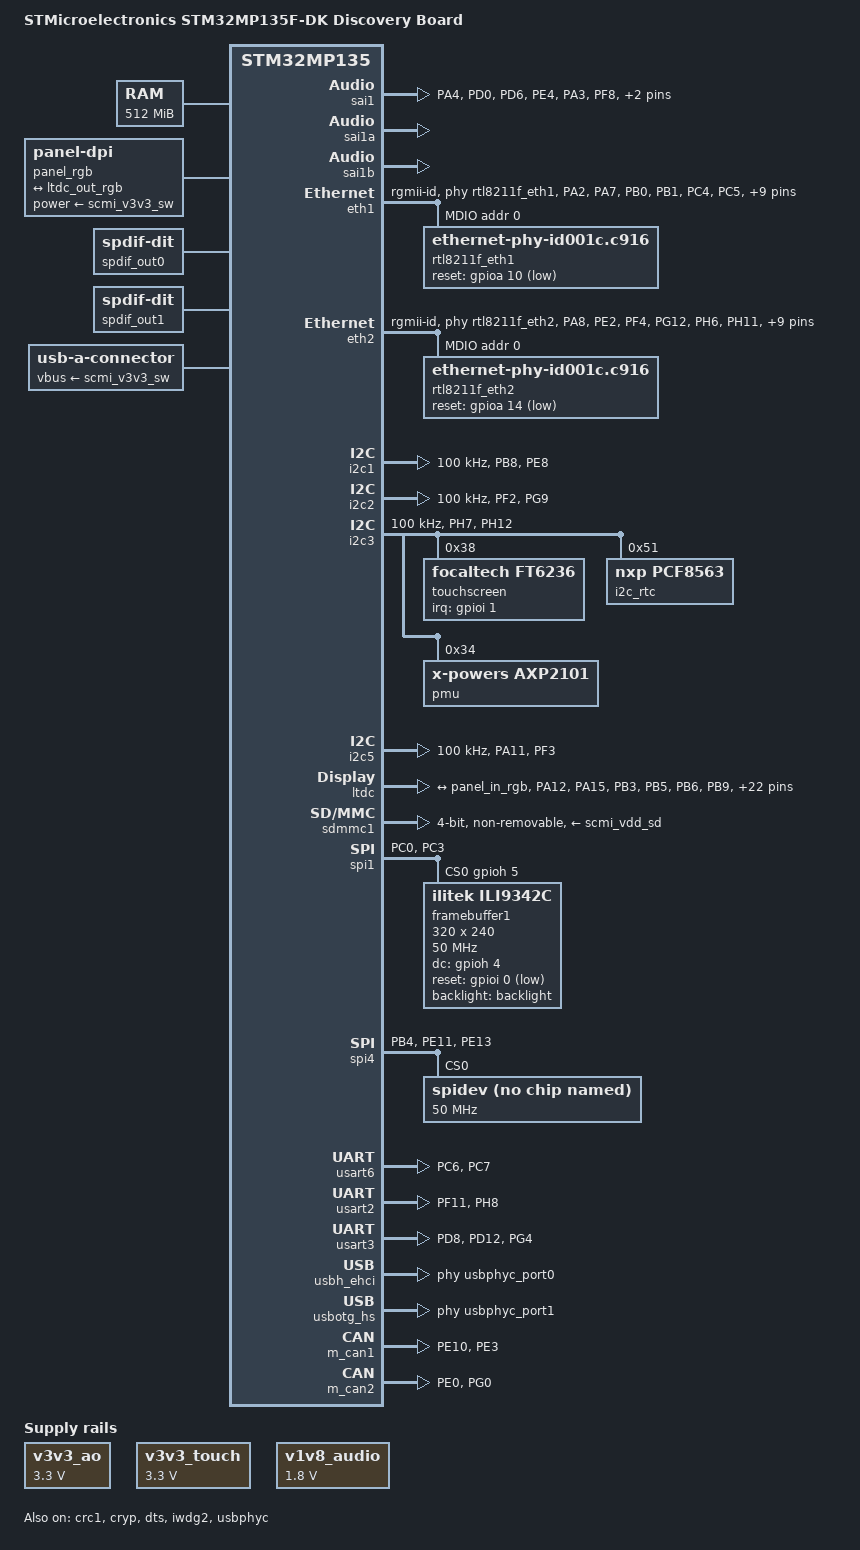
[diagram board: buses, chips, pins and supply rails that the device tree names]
// SPDX-License-Identifier: (GPL-2.0+ OR BSD-3-Clause)
/*
 * Copyright (C) STMicroelectronics 2021 - All Rights Reserved
 * Author: Alexandre Torgue <alexandre.torgue@foss.st.com> for STMicroelectronics.
 */

/dts-v1/;

#include <dt-bindings/gpio/gpio.h>
#include <dt-bindings/input/input.h>
#include <dt-bindings/leds/common.h>
#include <dt-bindings/rtc/rtc-stm32.h>
#include "stm32mp135.dtsi"
#include "stm32mp13xf.dtsi"
#include "stm32mp13-pinctrl.dtsi"

/ {
	model = "STMicroelectronics STM32MP135F-DK Discovery Board";
	compatible = "st,stm32mp135f-dk", "st,stm32mp135";

	aliases {
		ethernet0 = &eth1;
		ethernet1 = &eth2;
		serial0 = &usart6;
		serial1 = &usart1;
		serial2 = &usart2;
		// rs485
		serial3 = &usart3;


		i2c0 = &i2c3;
		i2c1 = &i2c5;
		
		i2c2 = &i2c1;
		i2c3 = &i2c2;
	};

	chosen {
		#address-cells = <1>;
		#size-cells = <1>;
		ranges;
//		stdout-path = "serial0:115200n8";

		framebuffer {
			compatible = "simple-framebuffer";
			clocks = <&rcc LTDC_PX>;
			status = "disabled";
		};
	};

	clocks {
	};

	memory@c0000000 {
		device_type = "memory";
		reg = <0xc0000000 0x20000000>;
	};

	reserved-memory {
		#address-cells = <1>;
		#size-cells = <1>;
		ranges;

		optee_framebuffer@dd000000 {
			reg = <0xdd000000 0x1000000>;
			no-map;
		};

		optee@de000000 {
			reg = <0xde000000 0x2000000>;
			no-map;
		};
	};

	v3v3_ao: v3v3_ao {
		compatible = "regulator-fixed";
		regulator-name = "v3v3_ao";
		regulator-min-microvolt = <3300000>;
		regulator-max-microvolt = <3300000>;
		regulator-always-on;
	};

	v3v3_touch: v3v3_touch {
		compatible = "regulator-fixed";
		regulator-name = "v3v3";
		regulator-min-microvolt = <3300000>;
		regulator-max-microvolt = <3300000>;
		regulator-always-on;
	};

	v1v8_audio: regulator-v1v8_audio {
		compatible = "regulator-fixed";
		regulator-name = "v1v8_audio";
		regulator-min-microvolt = <1800000>;
		regulator-max-microvolt = <1800000>;
		regulator-always-on;
		regulator-boot-on;
	};


	panel_rgb: panel-rgb {
		compatible = "panel-dpi";
		power-supply = <&scmi_v3v3_sw>;
		data-mapping = "rgb24";
		status = "okay";
		// 1920×1080
		width-mm = <320>;
		height-mm = <180>;
		port {
			panel_in_rgb: endpoint {
				remote-endpoint = <&ltdc_out_rgb>;
			};
		};
		// https://tomverbeure.github.io/video_timings_calculator
		panel-timing {
			clock-frequency = <74250000>;
			hactive = <1280>;
			vactive = <720>;
			hsync-len = <40>;
			hfront-porch = <110>;
			hback-porch = <220>;
			vsync-len = <5>;
			vfront-porch = <5>;
			vback-porch = <20>;

			hsync-active = <1>;
			vsync-active = <1>;

			de-active = <1>;
			pixelclk-active = <1>;
		};
	};

	sound0 {
        compatible = "simple-audio-card";
        simple-audio-card,format = "i2s";
        simple-audio-card,mclk-fs = <256>;
        simple-audio-card,name = "ns4168-codec";
        status = "okay";

        simple-audio-card,cpu {
                sound-dai = <&sai1a>;
        };
        simple-audio-card,codec {
                sound-dai = <&spdif_out0>;
        };
	};

	sound1 {
        compatible = "simple-audio-card";
        simple-audio-card,format = "i2s";
        simple-audio-card,mclk-fs = <256>;
        simple-audio-card,name = "hdmi-codec";
        status = "okay";

        simple-audio-card,cpu {
                sound-dai = <&sai1b>;
        };
        simple-audio-card,codec {
                sound-dai = <&spdif_out1>;
        };
	};

	spdif_out0: spdif-out0 {
		#sound-dai-cells = <0>;
		compatible = "linux,spdif-dit";
		status = "okay";
	};

	spdif_out1: spdif-out1 {
		#sound-dai-cells = <0>;
		compatible = "linux,spdif-dit";
		status = "okay";
	};
};



&sai1 {
	clocks = <&rcc SAI1>, <&scmi_clk CK_SCMI_PLL3_Q>, <&scmi_clk CK_SCMI_PLL3_R>;
	clock-names = "pclk", "x8k", "x11k";

    pinctrl-names = "default", "sleep";
	pinctrl-0 = <&sai1a_pins_mx>, <&sai1b_pins_mx>;
	pinctrl-1 = <&sai1a_sleep_pins_mx>, <&sai1b_sleep_pins_mx>;
    status = "okay";
};

&sai1a{
	#clock-cells = <0>;
	dma-names = "tx";
	status = "okay";
};

&sai1b{
	#clock-cells = <0>;
	dma-names = "tx";
	status = "okay";
};

&crc1 {
	status = "okay";
};

&cryp {
	status = "okay";
};

&dma1 {
	sram = <&dma_pool>;
};

&dma2 {
	sram = <&dma_pool>;
};

&dts {
	status = "okay";
};

&eth1 {
	status = "okay";
	pinctrl-0 = <&eth1_pins_mx>;
	pinctrl-1 = <&eth1_sleep_pins_mx>;
	pinctrl-names = "default", "sleep";
	phy-mode = "rgmii-id";
	max-speed = <1000>;
	nvmem-cells = <&ethernet_mac1_address>;
	nvmem-cell-names = "mac-address";
	phy-handle = <&rtl8211f_eth1>;

	mdio1 {
		#address-cells = <1>;
		#size-cells = <0>;
		compatible = "snps,dwmac-mdio";
		rtl8211f_eth1: ethernet-phy@0 {
			compatible = "ethernet-phy-id001c.c916";
			reg = <0>;
			reset-assert-us = <10000>;
			reset-deassert-us = <30000>;
			reset-gpios = <&gpioa 10 GPIO_ACTIVE_LOW>;
		};
	};
};

&eth2 {
	status = "okay";
	pinctrl-0 = <&eth2_pins_mx>;
	pinctrl-1 = <&eth2_sleep_pins_mx>;
	pinctrl-names = "default", "sleep";
	phy-mode = "rgmii-id";
	max-speed = <1000>;
	phy-handle = <&rtl8211f_eth2>;
	nvmem-cells = <&ethernet_mac2_address>;
	nvmem-cell-names = "mac-address";

	mdio1 {
		#address-cells = <1>;
		#size-cells = <0>;
		compatible = "snps,dwmac-mdio";

		rtl8211f_eth2: ethernet-phy@0 {
			compatible = "ethernet-phy-id001c.c916";
			reg = <0>;
			reset-assert-us = <10000>;
			reset-deassert-us = <30000>;
			reset-gpios = <&gpioa 14 GPIO_ACTIVE_LOW>;
		};
	};

};


&mdma{
	status = "okay";
};

// bus i2c1
&i2c1 {
	pinctrl-names = "default", "sleep";
	pinctrl-0 = <&i2c1_pins_mx>;
	pinctrl-1 = <&i2c1_sleep_pins_mx>;
	// i2c-scl-rising-time-ns = <96>;
	// i2c-scl-falling-time-ns = <3>;
	clock-frequency = <100000>;
	status = "okay";
	// status = "disabled";
	/* spare dmas for other usage */
	/delete-property/dmas;
	/delete-property/dma-names;

};

// bus i2c2
&i2c2 {
	pinctrl-names = "default", "sleep";
	pinctrl-0 = <&i2c2_pins_mx>;
	pinctrl-1 = <&i2c2_sleep_pins_mx>;
	clock-frequency = <100000>;
	status = "okay";
	// status = "disabled";
	/* spare dmas for other usage */
	/delete-property/dmas;
	/delete-property/dma-names;

};

// interior i2c
&i2c3 {
	pinctrl-names = "default", "sleep";
	pinctrl-0 = <&i2c3_pins_mx>;
	pinctrl-1 = <&i2c3_sleep_pins_mx>;
	clock-frequency = <100000>;
	status = "okay";
	// /* spare dmas for other usage */
	/delete-property/dmas;
	/delete-property/dma-names;
	touchscreen: ft6236@38 {
			compatible = "focaltech,ft6236";
			reg = <0x38>;
			interrupt-parent = <&gpioi>;
			interrupts = <1 IRQ_TYPE_EDGE_FALLING>;
			touchscreen-size-x = <240>;
			touchscreen-size-y = <320>;
			status = "okay";
	}; 

	i2c_rtc: pcf8563@51 {
		compatible = "nxp,pcf8563";
		reg = <0x51>;
		status = "okay";
	};

	pmu: axp2101@34 {
		compatible = "x-powers,axp2101";
		reg = <0x34>;
		#address-cells = <1>;
		#size-cells = <0>;
		status = "okay";

		backlight: axp2101_bl {
			compatible = "m5stack,axp2101-backlight";
			status = "okay";
		};
		// poweroff: axp2101_poweroff {
		// 	compatible = "x-powers,axp2101-poweroff";
		// 	status = "okay";
		// };
	};

};

//enclosure i2c
&i2c5 {
	pinctrl-names = "default", "sleep";
	pinctrl-0 = <&i2c5_pins_mx>;
	pinctrl-1 = <&i2c5_sleep_pins_mx>;
	clock-frequency = <100000>;
	status = "okay";
	// status = "disabled";
	/* spare dmas for other usage */
	/delete-property/dmas;
	/delete-property/dma-names;
};

&iwdg2 {
	timeout-sec = <32>;
	status = "okay";
};

&ltdc {
	pinctrl-names = "default", "sleep";
	pinctrl-0 = <&ltdc_pins_mx>;
	pinctrl-1 = <&ltdc_sleep_pins_mx>;
	status = "okay";
	port {
		#address-cells = <1>;
		#size-cells = <0>;

		ltdc_out_rgb: endpoint@0 {
			reg = <0>;
			remote-endpoint = <&panel_in_rgb>;
		};
	};
};

&rtc {
	status = "disabled";
};

&scmi_regu {
	scmi_vddcpu: voltd-vddcpu {
		voltd-name = "vddcpu";
		regulator-name = "vddcpu";
	};
	scmi_vdd: voltd-vdd {
		voltd-name = "vdd";
		regulator-name = "vdd";
	};
	scmi_vddcore: voltd-vddcore {
		voltd-name = "vddcore";
		regulator-name = "vddcore";
	};
	scmi_vdd_adc: voltd-vdd_adc {
		voltd-name = "vdd_adc";
		regulator-name = "vdd_adc";
	};
	scmi_vdd_usb: voltd-vdd_usb {
		voltd-name = "vdd_usb";
		regulator-name = "vdd_usb";
	};
	scmi_vdd_sd: voltd-vdd_sd {
		voltd-name = "vdd_sd";
		regulator-name = "vdd_sd";
	};
	scmi_v1v8_periph: voltd-v1v8_periph {
		voltd-name = "v1v8_periph";
		regulator-name = "v1v8_periph";
	};
	scmi_v3v3_sw: voltd-v3v3_sw {
		voltd-name = "v3v3_sw";
		regulator-name = "v3v3_sw";
	};
};

&sdmmc1 {
	pinctrl-names = "default", "opendrain", "sleep";
	pinctrl-0 = <&sdmmc1_b4_pins_a &sdmmc1_clk_pins_a>;
	pinctrl-1 = <&sdmmc1_b4_od_pins_a &sdmmc1_clk_pins_a>;
	pinctrl-2 = <&sdmmc1_b4_sleep_pins_a>;
	non-removable;
	disable-wp;
	st,neg-edge;
	bus-width = <4>;
	vmmc-supply = <&scmi_vdd_sd>;
	status = "okay";
};

&spi1 {
	pinctrl-names = "default", "sleep";
	pinctrl-0 = <&spi1_pins_mx>;
	pinctrl-1 = <&spi1_sleep_pins_mx>;
	num-cs = <1>;
	cs-gpios = <&gpioh 5 GPIO_ACTIVE_HIGH>;
	status = "okay";

	framebuffer1: ili9342c@0 {
		compatible = "ilitek,ili9342c";
		reg = <0>;
		dc-gpios = <&gpioh 4 GPIO_ACTIVE_HIGH>;
		reset-gpios = <&gpioi 0 GPIO_ACTIVE_LOW>;
		spi-max-frequency = <50000000>;
		status = "okay";
		rotate = <180>;
		bgr;
		buswidth = <8>;
		width = <320>;
		height = <240>;
		backlight = <&backlight>;
	};
};

// bus spi
&spi4 {
	pinctrl-names = "default", "sleep";
	pinctrl-0 = <&spi4_pins_mx>;
	pinctrl-1 = <&spi4_sleep_pins_mx>;
	// cs-gpios = <&gpiob 13 GPIO_ACTIVE_LOW>, <&gpioc 13 GPIO_ACTIVE_LOW>;

	/delete-property/dmas;
	/delete-property/dma-names;
	status = "okay";

	spidev@0 {
		compatible = "rohm,dh2228fv";
		reg = <0>;
		spi-max-frequency = <50000000>;
	};
};

&sram {
	dma_pool: dma-sram@0 {
		reg = <0x0 0x4000>;
		pool;
	};
};


&adc_1 {
	pinctrl-names = "default";
	pinctrl-0 = <&adc1_pins_mx>;
	vdda-supply = <&scmi_vdd_adc>;
	vref-supply = <&scmi_vdd_adc>;
	status = "disabled";
	adc1: adc@0 {
		/delete-property/dmas;
		/delete-property/dma-names;
		st,min-sample-time-nsecs = <5000>;
		st,adc-channels = <2 3 7 17>;
		status = "disabled";
	};

};

// bus pwm
&timers1 {
	/delete-property/dmas;
	/delete-property/dma-names;
	status = "disabled";
	pwm {
		pinctrl-0 = <&tim1_pwm_pins_mx>;
		pinctrl-1 = <&tim1_pwm_sleep_pins_mx>;
		pinctrl-names = "default", "sleep";
		status = "disabled";
	};
	timer@0 {
		status = "disabled";
	};
};

// bus pwm
&timers2 {
	/delete-property/dmas;
	/delete-property/dma-names;
	status = "disabled";
	pwm {
		pinctrl-0 = <&tim2_pwm_pins_mx>;
		pinctrl-1 = <&tim2_pwm_sleep_pins_mx>;
		pinctrl-names = "default", "sleep";
		status = "disabled";
	};
	timer@1 {
		status = "disabled";
	};
};


&uart4 {
	pinctrl-names = "default", "sleep", "idle";
	pinctrl-0 = <&uart4_pins_a>;
	pinctrl-1 = <&uart4_sleep_pins_a>;
	pinctrl-2 = <&uart4_idle_pins_a>;
	/delete-property/dmas;
	/delete-property/dma-names;
	status = "disabled";
};

// log uart
&usart6 {
	pinctrl-names = "default", "sleep";
	pinctrl-0 = <&usart6_pins_mx>;
	pinctrl-1 = <&usart6_sleep_pins_mx>;
	/delete-property/dmas;
	/delete-property/dma-names;
	rx-tx-swap;
	status = "okay";
};


&uart8 {
	pinctrl-names = "default", "sleep", "idle";
	pinctrl-0 = <&uart8_pins_a>;
	pinctrl-1 = <&uart8_sleep_pins_a>;
	pinctrl-2 = <&uart8_idle_pins_a>;
	/delete-property/dmas;
	/delete-property/dma-names;
	status = "disabled";
};

&usart1 {
	pinctrl-names = "default", "sleep";
	pinctrl-0 = <&usart1_pins_mx>;
	pinctrl-1 = <&usart1_sleep_pins_mx>;
	/delete-property/dmas;
	/delete-property/dma-names;
	status = "disabled";
};

// bus uart2
&usart2 {
	pinctrl-names = "default", "sleep";
	pinctrl-0 = <&usart2_pins_mx>;
	pinctrl-1 = <&usart2_sleep_pins_mx>;
	/delete-property/dmas;
	/delete-property/dma-names;
	status = "okay";
};

// rs485
&usart3 {
	/delete-property/dmas;
	/delete-property/dma-names;
	pinctrl-names = "default", "sleep";
	pinctrl-0 = <&usart3_pins_mx>;
	pinctrl-1 = <&usart3_sleep_pins_mx>;
	rts-gpios;
	linux,rs485-enabled-at-boot-time;
	status = "okay";
};

&usbh_ehci {
	phys = <&usbphyc_port0>;
	status = "okay";
};

&usbotg_hs {
	phys = <&usbphyc_port1 0>;
	phy-names = "usb2-phy";
	usb-role-switch;
	status = "okay";
};

&usbphyc {
	status = "okay";
};

&usbphyc_port0 {
	phy-supply = <&scmi_vdd_usb>;
	st,current-boost-microamp = <1000>;
	st,decrease-hs-slew-rate;
	st,tune-hs-dc-level = <2>;
	st,enable-hs-rftime-reduction;
	st,trim-hs-current = <11>;
	st,trim-hs-impedance = <2>;
	st,tune-squelch-level = <1>;
	st,enable-hs-rx-gain-eq;
	st,no-hs-ftime-ctrl;
	st,no-lsfs-sc;

	/*
	 * Hack to keep hub active if wakeup source is enabled
	 * otherwise the hub will wakeup the port0 as soon as the v3v3_sw is disabled
	 */
	connector {
		compatible = "usb-a-connector";
		vbus-supply = <&scmi_v3v3_sw>;
	};
};

&usbphyc_port1 {
	#phy-cells = <0>;
	reg = <0>;
	phy-supply = <&scmi_vdd_usb>;
	st,current-boost-microamp = <1000>;
	st,decrease-hs-slew-rate;
	st,tune-hs-dc-level = <2>;
	st,enable-hs-rftime-reduction;
	st,trim-hs-current = <11>;
	st,trim-hs-impedance = <2>;
	st,tune-squelch-level = <1>;
	st,enable-hs-rx-gain-eq;
	st,no-hs-ftime-ctrl;
	st,no-lsfs-sc;
};

&m_can1 {
	pinctrl-names = "default", "sleep";
	pinctrl-0 = <&fdcan1_pins_mx>;
	pinctrl-1 = <&fdcan1_sleep_pins_mx>;
	status = "okay";
};

&m_can2 {
	pinctrl-names = "default", "sleep";
	pinctrl-0 = <&fdcan2_pins_mx>;
	pinctrl-1 = <&fdcan2_sleep_pins_mx>;
	status = "okay";
};


&pinctrl {

	adc1_pins_mx: adc1_mx-0 {
		pins {
			pinmux = <STM32_PINMUX('A', 0, ANALOG)>, /* ADC1_INP7 */
					 <STM32_PINMUX('A', 1, ANALOG)>, /* ADC1_INP3 */
					 <STM32_PINMUX('A', 5, ANALOG)>, /* ADC1_INP2 */
					 <STM32_PINMUX('A', 6, ANALOG)>; /* ADC1_INP17 */
					//  <STM32_PINMUX('F', 12, ANALOG)>; /* ADC1_INN2 */
		};
	};

	adc1_sleep_pins_mx: adc1_sleep_mx-0 {
		pins {
			pinmux = <STM32_PINMUX('A', 0, ANALOG)>, /* ADC1_INP7 */
					 <STM32_PINMUX('A', 1, ANALOG)>, /* ADC1_INP3 */
					 <STM32_PINMUX('A', 5, ANALOG)>, /* ADC1_INP2 */
					 <STM32_PINMUX('A', 6, ANALOG)>; /* ADC1_INP17 */
					//  <STM32_PINMUX('F', 12, ANALOG)>; /* ADC1_INN2 */
		};
	};

	eth1_pins_mx: eth1_mx-0 {
		pins1 {
			pinmux = <STM32_PINMUX('A', 2, AF11)>; /* ETH1_MDIO */
			bias-disable;
			drive-push-pull;
			slew-rate = <0>;
		};
		pins2 {
			pinmux = <STM32_PINMUX('A', 7, AF11)>, /* ETH1_RX_CTL */
					 <STM32_PINMUX('B', 0, AF11)>, /* ETH1_RXD2 */
					 <STM32_PINMUX('B', 1, AF11)>, /* ETH1_RXD3 */
					 <STM32_PINMUX('C', 4, AF11)>, /* ETH1_RXD0 */
					 <STM32_PINMUX('C', 5, AF11)>, /* ETH1_RXD1 */
					 <STM32_PINMUX('D', 7, AF10)>; /* ETH1_RX_CLK */
			bias-disable;
		};
		pins3 {
			pinmux = <STM32_PINMUX('B', 11, AF11)>, /* ETH1_TX_CTL */
					 <STM32_PINMUX('C', 1, AF11)>, /* ETH1_GTX_CLK */
					 <STM32_PINMUX('C', 2, AF11)>, /* ETH1_TXD2 */
					 <STM32_PINMUX('E', 5, AF10)>, /* ETH1_TXD3 */
					 <STM32_PINMUX('G', 2, AF11)>, /* ETH1_MDC */
					 <STM32_PINMUX('F', 12, AF11)>, /* ETH1_CLK125 */
					 <STM32_PINMUX('G', 13, AF11)>, /* ETH1_TXD0 */
					 <STM32_PINMUX('G', 14, AF11)>; /* ETH1_TXD1 */
			bias-disable;
			drive-push-pull;
			slew-rate = <2>;
		};
	};

	eth1_sleep_pins_mx: eth1_sleep_mx-0 {
		pins {
			pinmux = <STM32_PINMUX('A', 2, ANALOG)>, /* ETH1_MDIO */
					 <STM32_PINMUX('A', 7, ANALOG)>, /* ETH1_RX_CTL */
					 <STM32_PINMUX('B', 0, ANALOG)>, /* ETH1_RXD2 */
					 <STM32_PINMUX('B', 1, ANALOG)>, /* ETH1_RXD3 */
					 <STM32_PINMUX('B', 11, ANALOG)>, /* ETH1_TX_CTL */
					 <STM32_PINMUX('C', 1, ANALOG)>, /* ETH1_GTX_CLK */
					 <STM32_PINMUX('C', 2, ANALOG)>, /* ETH1_TXD2 */
					 <STM32_PINMUX('C', 4, ANALOG)>, /* ETH1_RXD0 */
					 <STM32_PINMUX('C', 5, ANALOG)>, /* ETH1_RXD1 */
					 <STM32_PINMUX('D', 7, ANALOG)>, /* ETH1_RX_CLK */
					 <STM32_PINMUX('E', 5, ANALOG)>, /* ETH1_TXD3 */
					 <STM32_PINMUX('G', 2, ANALOG)>, /* ETH1_MDC */
					 <STM32_PINMUX('F', 12, ANALOG)>, /* ETH1_CLK125 */
					 <STM32_PINMUX('G', 13, ANALOG)>, /* ETH1_TXD0 */
					 <STM32_PINMUX('G', 14, ANALOG)>; /* ETH1_TXD1 */
		};
	};

	eth2_pins_mx: eth2_mx-0 {
		pins1 {
			pinmux = <STM32_PINMUX('A', 8, AF11)>, /* ETH2_RXD3 */
					 <STM32_PINMUX('E', 2, AF10)>, /* ETH2_RXD1 */
					 <STM32_PINMUX('F', 4, AF11)>, /* ETH2_RXD0 */
					 <STM32_PINMUX('G', 12, AF12)>, /* ETH2_RX_CTL */
					 <STM32_PINMUX('H', 6, AF12)>, /* ETH2_RXD2 */
					 <STM32_PINMUX('H', 11, AF11)>; /* ETH2_RX_CLK */
			bias-disable;
		};
		pins2 {
			pinmux = <STM32_PINMUX('B', 2, AF11)>; /* ETH2_MDIO */
			bias-disable;
			drive-push-pull;
			slew-rate = <0>;
		};
		pins3 {
			pinmux = <STM32_PINMUX('E', 6, AF11)>, /* ETH2_TXD3 */
					 <STM32_PINMUX('F', 6, AF11)>, /* ETH2_TX_CTL */
					 <STM32_PINMUX('F', 7, AF11)>, /* ETH2_TXD0 */
					 <STM32_PINMUX('G', 1, AF10)>, /* ETH2_TXD2 */
					 <STM32_PINMUX('G', 3, AF10)>, /* ETH2_GTX_CLK */
					 <STM32_PINMUX('G', 5, AF10)>, /* ETH2_MDC */
					 <STM32_PINMUX('G', 11, AF10)>, /* ETH2_TXD1 */
					 <STM32_PINMUX('H', 2, AF13)>; /* ETH2_CLK125 */
			bias-disable;
			drive-push-pull;
			slew-rate = <2>;
		};
	};

	eth2_sleep_pins_mx: eth2_sleep_mx-0 {
		pins {
			pinmux = <STM32_PINMUX('A', 8, ANALOG)>, /* ETH2_RXD3 */
					 <STM32_PINMUX('B', 2, ANALOG)>, /* ETH2_MDIO */
					 <STM32_PINMUX('E', 2, ANALOG)>, /* ETH2_RXD1 */
					 <STM32_PINMUX('E', 6, ANALOG)>, /* ETH2_TXD3 */
					 <STM32_PINMUX('F', 4, ANALOG)>, /* ETH2_RXD0 */
					 <STM32_PINMUX('F', 6, ANALOG)>, /* ETH2_TX_CTL */
					 <STM32_PINMUX('F', 7, ANALOG)>, /* ETH2_TXD0 */
					 <STM32_PINMUX('G', 1, ANALOG)>, /* ETH2_TXD2 */
					 <STM32_PINMUX('G', 3, ANALOG)>, /* ETH2_GTX_CLK */
					 <STM32_PINMUX('G', 5, ANALOG)>, /* ETH2_MDC */
					 <STM32_PINMUX('H', 2, ANALOG)>, /* ETH2_CLK125 */
					 <STM32_PINMUX('G', 11, ANALOG)>, /* ETH2_TXD1 */
					 <STM32_PINMUX('G', 12, ANALOG)>, /* ETH2_RX_CTL */
					 <STM32_PINMUX('H', 6, ANALOG)>, /* ETH2_RXD2 */
					 <STM32_PINMUX('H', 11, ANALOG)>; /* ETH2_RX_CLK */
		};
	};

	fdcan1_pins_mx: fdcan1_mx-0 {
		pins1 {
			pinmux = <STM32_PINMUX('E', 10, AF9)>; /* FDCAN1_TX */
			bias-disable;
			drive-push-pull;
			slew-rate = <0>;
		};
		pins2 {
			pinmux = <STM32_PINMUX('E', 3, AF9)>; /* FDCAN1_RX */
			bias-disable;
		};
	};

	fdcan1_sleep_pins_mx: fdcan1_sleep_mx-0 {
		pins {
			pinmux = <STM32_PINMUX('E', 3, ANALOG)>, /* FDCAN1_RX */
					 <STM32_PINMUX('E', 10, ANALOG)>; /* FDCAN1_TX */
		};
	};

	fdcan2_pins_mx: fdcan2_mx-0 {
		pins1 {
			pinmux = <STM32_PINMUX('E', 0, AF9)>; /* FDCAN2_RX */
			bias-disable;
		};
		pins2 {
			pinmux = <STM32_PINMUX('G', 0, AF9)>; /* FDCAN2_TX */
			bias-disable;
			drive-push-pull;
			slew-rate = <0>;
		};
	};

	fdcan2_sleep_pins_mx: fdcan2_sleep_mx-0 {
		pins {
			pinmux = <STM32_PINMUX('E', 0, ANALOG)>, /* FDCAN2_RX */
					 <STM32_PINMUX('G', 0, ANALOG)>; /* FDCAN2_TX */
		};
	};

	i2c1_pins_mx: i2c1_mx-0 {
		pins {
			pinmux = <STM32_PINMUX('B', 8, AF4)>, /* I2C1_SCL */
					 <STM32_PINMUX('E', 8, AF5)>; /* I2C1_SDA */
			bias-disable;
			drive-open-drain;
			slew-rate = <0>;
		};
	};

	i2c1_sleep_pins_mx: i2c1_sleep_mx-0 {
		pins {
			pinmux = <STM32_PINMUX('B', 8, ANALOG)>, /* I2C1_SCL */
					 <STM32_PINMUX('E', 8, ANALOG)>; /* I2C1_SDA */
		};
	};

	i2c2_pins_mx: i2c2_mx-0 {
		pins {
			pinmux = <STM32_PINMUX('F', 2, AF4)>, /* I2C2_SCL */
					 <STM32_PINMUX('G', 9, AF4)>; /* I2C2_SDA */
			bias-disable;
			drive-open-drain;
			slew-rate = <0>;
		};
	};

	i2c2_sleep_pins_mx: i2c2_sleep_mx-0 {
		pins {
			pinmux = <STM32_PINMUX('F', 2, ANALOG)>, /* I2C2_SCL */
					 <STM32_PINMUX('G', 9, ANALOG)>; /* I2C2_SDA */
		};
	};

	i2c3_pins_mx: i2c3_mx-0 {
		pins {
			pinmux = <STM32_PINMUX('H', 7, AF5)>, /* I2C3_SDA */
					 <STM32_PINMUX('H', 12, AF4)>; /* I2C3_SCL */
			bias-disable;
			drive-open-drain;
			slew-rate = <0>;
		};
	};

	i2c3_sleep_pins_mx: i2c3_sleep_mx-0 {
		pins {
			pinmux = <STM32_PINMUX('H', 7, ANALOG)>, /* I2C3_SDA */
					 <STM32_PINMUX('H', 12, ANALOG)>; /* I2C3_SCL */
		};
	};

	ft6236_pins_b: ft6236-1 {
		pins {
			pinmux = <STM32_PINMUX('I', 1, GPIO)>;
			bias-pull-up;
		};
	};

	i2c4_pins_mx: i2c4_mx-0 {
		pins {
			pinmux = <STM32_PINMUX('B', 7, AF6)>, /* I2C4_SDA */
					 <STM32_PINMUX('E', 15, AF6)>; /* I2C4_SCL */
			bias-disable;
			drive-open-drain;
			slew-rate = <0>;
		};
	};

	i2c4_sleep_pins_mx: i2c4_sleep_mx-0 {
		pins {
			pinmux = <STM32_PINMUX('B', 7, ANALOG)>, /* I2C4_SDA */
					 <STM32_PINMUX('E', 15, ANALOG)>; /* I2C4_SCL */
		};
	};

	i2c5_pins_mx: i2c5_mx-0 {
		pins {
			pinmux = <STM32_PINMUX('A', 11, AF4)>, /* I2C5_SCL */
					 <STM32_PINMUX('F', 3, AF4)>; /* I2C5_SDA */
			bias-disable;
			drive-open-drain;
			slew-rate = <0>;
		};
	};

	i2c5_sleep_pins_mx: i2c5_sleep_mx-0 {
		pins {
			pinmux = <STM32_PINMUX('A', 11, ANALOG)>, /* I2C5_SCL */
					 <STM32_PINMUX('F', 3, ANALOG)>; /* I2C5_SDA */
		};
	};

	ltdc_pins_mx: ltdc_mx-0 {
		pins1 {
			pinmux = <STM32_PINMUX('A', 12, AF14)>, /* LTDC_G6 */
					 <STM32_PINMUX('A', 15, AF11)>, /* LTDC_G7 */
					 <STM32_PINMUX('B', 3, AF14)>, /* LTDC_B2 */
					 <STM32_PINMUX('B', 5, AF13)>, /* LTDC_B6 */
					 <STM32_PINMUX('B', 6, AF14)>, /* LTDC_B7 */
					 <STM32_PINMUX('B', 9, AF14)>, /* LTDC_B1 */
					 <STM32_PINMUX('B', 12, AF13)>, /* LTDC_R3 */
					 <STM32_PINMUX('B', 14, AF13)>, /* LTDC_R0 */
					 <STM32_PINMUX('D', 1, AF14)>, /* LTDC_G2 */
					 <STM32_PINMUX('D', 4, AF11)>, /* LTDC_R1 */
					 <STM32_PINMUX('D', 5, AF13)>, /* LTDC_B0 */
					 <STM32_PINMUX('D', 9, AF11)>, /* LTDC_B5 */
					 <STM32_PINMUX('D', 10, AF9)>, /* LTDC_G5 */
					 <STM32_PINMUX('D', 13, AF14)>, /* LTDC_G4 */
					 <STM32_PINMUX('E', 1, AF11)>, /* LTDC_R4 */
					 <STM32_PINMUX('E', 7, AF14)>, /* LTDC_R5 */
					 <STM32_PINMUX('E', 12, AF9)>, /* LTDC_VSYNC */
					 <STM32_PINMUX('F', 0, AF13)>, /* LTDC_R6 */
					 <STM32_PINMUX('F', 1, AF14)>, /* LTDC_G1 */
					 <STM32_PINMUX('F', 5, AF9)>, /* LTDC_G0 */
					 <STM32_PINMUX('G', 6, AF14)>, /* LTDC_R7 */
					 <STM32_PINMUX('G', 7, AF14)>, /* LTDC_R2 */
					 <STM32_PINMUX('G', 15, AF14)>, /* LTDC_B3 */
					 <STM32_PINMUX('H', 9, AF11)>, /* LTDC_DE */
					 <STM32_PINMUX('H', 10, AF13)>, /* LTDC_HSYNC */
					 <STM32_PINMUX('H', 13, AF13)>, /* LTDC_G3 */
					 <STM32_PINMUX('H', 14, AF11)>; /* LTDC_B4 */
			bias-disable;
			drive-push-pull;
			slew-rate = <0>;
		};
		pins2 {
			pinmux = <STM32_PINMUX('B', 15, AF13)>; /* LTDC_CLK */
			bias-disable;
			drive-push-pull;
			slew-rate = <1>;
		};
	};

	ltdc_sleep_pins_mx: ltdc_sleep_mx-0 {
		pins {
			pinmux = <STM32_PINMUX('A', 12, ANALOG)>, /* LTDC_G6 */
					 <STM32_PINMUX('A', 15, ANALOG)>, /* LTDC_G7 */
					 <STM32_PINMUX('B', 3, ANALOG)>, /* LTDC_B2 */
					 <STM32_PINMUX('B', 5, ANALOG)>, /* LTDC_B6 */
					 <STM32_PINMUX('B', 6, ANALOG)>, /* LTDC_B7 */
					 <STM32_PINMUX('B', 9, ANALOG)>, /* LTDC_B1 */
					 <STM32_PINMUX('B', 12, ANALOG)>, /* LTDC_R3 */
					 <STM32_PINMUX('B', 14, ANALOG)>, /* LTDC_R0 */
					 <STM32_PINMUX('B', 15, ANALOG)>, /* LTDC_CLK */
					 <STM32_PINMUX('D', 1, ANALOG)>, /* LTDC_G2 */
					 <STM32_PINMUX('D', 4, ANALOG)>, /* LTDC_R1 */
					 <STM32_PINMUX('D', 5, ANALOG)>, /* LTDC_B0 */
					 <STM32_PINMUX('D', 9, ANALOG)>, /* LTDC_B5 */
					 <STM32_PINMUX('D', 10, ANALOG)>, /* LTDC_G5 */
					 <STM32_PINMUX('D', 13, ANALOG)>, /* LTDC_G4 */
					 <STM32_PINMUX('E', 1, ANALOG)>, /* LTDC_R4 */
					 <STM32_PINMUX('E', 7, ANALOG)>, /* LTDC_R5 */
					 <STM32_PINMUX('E', 12, ANALOG)>, /* LTDC_VSYNC */
					 <STM32_PINMUX('F', 0, ANALOG)>, /* LTDC_R6 */
					 <STM32_PINMUX('F', 1, ANALOG)>, /* LTDC_G1 */
					 <STM32_PINMUX('F', 5, ANALOG)>, /* LTDC_G0 */
					 <STM32_PINMUX('G', 6, ANALOG)>, /* LTDC_R7 */
					 <STM32_PINMUX('G', 7, ANALOG)>, /* LTDC_R2 */
					 <STM32_PINMUX('G', 15, ANALOG)>, /* LTDC_B3 */
					 <STM32_PINMUX('H', 9, ANALOG)>, /* LTDC_DE */
					 <STM32_PINMUX('H', 10, ANALOG)>, /* LTDC_HSYNC */
					 <STM32_PINMUX('H', 13, ANALOG)>, /* LTDC_G3 */
					 <STM32_PINMUX('H', 14, ANALOG)>; /* LTDC_B4 */
		};
	};

	quadspi_pins_mx: quadspi_mx-0 {
		pins1 {
			pinmux = <STM32_PINMUX('D', 11, AF9)>, /* QUADSPI_BK1_IO2 */
					 <STM32_PINMUX('D', 15, AF9)>, /* QUADSPI_BK1_IO3 */
					 <STM32_PINMUX('E', 14, AF9)>, /* QUADSPI_BK1_NCS */
					 <STM32_PINMUX('F', 9, AF10)>, /* QUADSPI_BK1_IO1 */
					 <STM32_PINMUX('H', 3, AF13)>; /* QUADSPI_BK1_IO0 */
			bias-disable;
			drive-push-pull;
			slew-rate = <1>;
		};
		pins2 {
			pinmux = <STM32_PINMUX('F', 10, AF9)>; /* QUADSPI_CLK */
			bias-disable;
			drive-push-pull;
			slew-rate = <2>;
		};
	};

	quadspi_sleep_pins_mx: quadspi_sleep_mx-0 {
		pins {
			pinmux = <STM32_PINMUX('D', 11, ANALOG)>, /* QUADSPI_BK1_IO2 */
					 <STM32_PINMUX('D', 15, ANALOG)>, /* QUADSPI_BK1_IO3 */
					 <STM32_PINMUX('E', 14, ANALOG)>, /* QUADSPI_BK1_NCS */
					 <STM32_PINMUX('F', 9, ANALOG)>, /* QUADSPI_BK1_IO1 */
					 <STM32_PINMUX('F', 10, ANALOG)>, /* QUADSPI_CLK */
					 <STM32_PINMUX('H', 3, ANALOG)>; /* QUADSPI_BK1_IO0 */
		};
	};

	sai1a_pins_mx: sai1a_mx-0 {
		pins {
			pinmux = <STM32_PINMUX('A', 4, AF12)>, /* SAI1_SCK_A */
					 <STM32_PINMUX('D', 0, AF2)>, /* SAI1_MCLK_A */
					 <STM32_PINMUX('D', 6, AF6)>, /* SAI1_SD_A */
					 <STM32_PINMUX('E', 4, AF6)>; /* SAI1_FS_A */
			bias-disable;
			drive-push-pull;
			slew-rate = <0>;
		};
	};

	sai1a_sleep_pins_mx: sai1a_sleep_mx-0 {
		pins {
			pinmux = <STM32_PINMUX('A', 4, ANALOG)>, /* SAI1_SCK_A */
					 <STM32_PINMUX('D', 0, ANALOG)>, /* SAI1_MCLK_A */
					 <STM32_PINMUX('D', 6, ANALOG)>, /* SAI1_SD_A */
					 <STM32_PINMUX('E', 4, ANALOG)>; /* SAI1_FS_A */
		};
	};

	sai1b_pins_mx: sai1b_mx-0 {
		pins {
			pinmux = <STM32_PINMUX('A', 3, AF6)>, /* SAI1_FS_B */
					 <STM32_PINMUX('F', 8, AF6)>, /* SAI1_SCK_B */
					 <STM32_PINMUX('F', 13, AF2)>, /* SAI1_MCLK_B */
					 <STM32_PINMUX('G', 10, AF6)>; /* SAI1_SD_B */
			bias-disable;
			drive-push-pull;
			slew-rate = <0>;
		};
	};

	sai1b_sleep_pins_mx: sai1b_sleep_mx-0 {
		pins {
			pinmux = <STM32_PINMUX('A', 3, ANALOG)>, /* SAI1_FS_B */
					 <STM32_PINMUX('F', 8, ANALOG)>, /* SAI1_SCK_B */
					 <STM32_PINMUX('F', 13, ANALOG)>, /* SAI1_MCLK_B */
					 <STM32_PINMUX('G', 10, ANALOG)>; /* SAI1_SD_B */
		};
	};

	sdmmc1_pins_mx: sdmmc1_mx-0 {
		pins1 {
			pinmux = <STM32_PINMUX('C', 8, AF12)>, /* SDMMC1_D0 */
					 <STM32_PINMUX('C', 9, AF12)>, /* SDMMC1_D1 */
					 <STM32_PINMUX('C', 10, AF12)>, /* SDMMC1_D2 */
					 <STM32_PINMUX('C', 11, AF12)>, /* SDMMC1_D3 */
					 <STM32_PINMUX('D', 2, AF12)>; /* SDMMC1_CMD */
			bias-disable;
			drive-push-pull;
			slew-rate = <1>;
		};
		pins2 {
			pinmux = <STM32_PINMUX('C', 12, AF12)>; /* SDMMC1_CK */
			bias-disable;
			drive-push-pull;
			slew-rate = <3>;
		};
	};

	sdmmc1_opendrain_pins_mx: sdmmc1_opendrain_mx-0 {
		pins1 {
			pinmux = <STM32_PINMUX('C', 8, AF12)>, /* SDMMC1_D0 */
					 <STM32_PINMUX('C', 9, AF12)>, /* SDMMC1_D1 */
					 <STM32_PINMUX('C', 10, AF12)>, /* SDMMC1_D2 */
					 <STM32_PINMUX('C', 11, AF12)>; /* SDMMC1_D3 */
			bias-disable;
			drive-push-pull;
			slew-rate = <1>;
		};
		pins2 {
			pinmux = <STM32_PINMUX('C', 12, AF12)>; /* SDMMC1_CK */
			bias-disable;
			drive-push-pull;
			slew-rate = <3>;
		};
		pins3 {
			pinmux = <STM32_PINMUX('D', 2, AF12)>; /* SDMMC1_CMD */
			bias-disable;
			drive-open-drain;
			slew-rate = <1>;
		};
	};

	sdmmc1_sleep_pins_mx: sdmmc1_sleep_mx-0 {
		pins {
			pinmux = <STM32_PINMUX('C', 8, ANALOG)>, /* SDMMC1_D0 */
					 <STM32_PINMUX('C', 9, ANALOG)>, /* SDMMC1_D1 */
					 <STM32_PINMUX('C', 10, ANALOG)>, /* SDMMC1_D2 */
					 <STM32_PINMUX('C', 11, ANALOG)>, /* SDMMC1_D3 */
					 <STM32_PINMUX('C', 12, ANALOG)>, /* SDMMC1_CK */
					 <STM32_PINMUX('D', 2, ANALOG)>; /* SDMMC1_CMD */
		};
	};

	spi1_pins_mx: spi1_mx-0 {
		pins {
			pinmux = <STM32_PINMUX('C', 0, AF6)>, /* SPI1_MOSI */
					 <STM32_PINMUX('C', 3, AF6)>; /* SPI1_SCK */
			bias-disable;
			drive-push-pull;
			slew-rate = <1>;
		};
	};

	spi1_sleep_pins_mx: spi1_sleep_mx-0 {
		pins {
			pinmux = <STM32_PINMUX('C', 0, ANALOG)>, /* SPI1_MOSI */
					 <STM32_PINMUX('C', 3, ANALOG)>; /* SPI1_SCK */
		};
	};

	spi4_pins_mx: spi4_mx-0 {
		pins {
			pinmux = <STM32_PINMUX('B', 4, AF5)>, /* SPI4_SCK */
					 <STM32_PINMUX('E', 11, AF5)>, /* SPI4_MOSI */
					 <STM32_PINMUX('E', 13, AF5)>; /* SPI4_MISO */
			bias-disable;
			drive-push-pull;
			slew-rate = <1>;
		};
	};

	spi4_sleep_pins_mx: spi4_sleep_mx-0 {
		pins {
			pinmux = <STM32_PINMUX('B', 4, ANALOG)>, /* SPI4_SCK */
					 <STM32_PINMUX('E', 11, ANALOG)>, /* SPI4_MOSI */
					 <STM32_PINMUX('E', 13, ANALOG)>; /* SPI4_MISO */
		};
	};

	tim1_pwm_pins_mx: tim1_pwm_mx-0 {
		pins {
			pinmux = <STM32_PINMUX('B', 13, AF1)>, /* TIM1_CH1N */
					 <STM32_PINMUX('E', 9, AF1)>; /* TIM1_CH1 */
			bias-disable;
			drive-push-pull;
			slew-rate = <0>;
		};
	};

	tim1_pwm_sleep_pins_mx: tim1_pwm_sleep_mx-0 {
		pins {
			pinmux = <STM32_PINMUX('B', 13, ANALOG)>, /* TIM1_CH1N */
					 <STM32_PINMUX('E', 9, ANALOG)>; /* TIM1_CH1 */
		};
	};

	tim2_pwm_pins_mx: tim2_pwm_mx-0 {
		pins {
			pinmux = <STM32_PINMUX('B', 10, AF1)>, /* TIM2_CH3 */
					 <STM32_PINMUX('D', 3, AF2)>; /* TIM2_CH1 */
			bias-disable;
			drive-push-pull;
			slew-rate = <0>;
		};
	};

	tim2_pwm_sleep_pins_mx: tim2_pwm_sleep_mx-0 {
		pins {
			pinmux = <STM32_PINMUX('B', 10, ANALOG)>, /* TIM2_CH3 */
					 <STM32_PINMUX('D', 3, ANALOG)>; /* TIM2_CH1 */
		};
	};

	usart1_pins_mx: usart1_mx-0 {
		pins1 {
			pinmux = <STM32_PINMUX('A', 9, AF7)>; /* USART1_TX */
			bias-disable;
			drive-push-pull;
			slew-rate = <0>;
		};
		pins2 {
			pinmux = <STM32_PINMUX('D', 14, AF7)>; /* USART1_RX */
			bias-disable;
		};
	};

	usart1_sleep_pins_mx: usart1_sleep_mx-0 {
		pins {
			pinmux = <STM32_PINMUX('A', 9, ANALOG)>, /* USART1_TX */
					 <STM32_PINMUX('D', 14, ANALOG)>; /* USART1_RX */
		};
	};

	usart2_pins_mx: usart2_mx-0 {
		pins1 {
			pinmux = <STM32_PINMUX('F', 11, AF1)>; /* USART2_TX */
			bias-disable;
			drive-push-pull;
			slew-rate = <0>;
		};
		pins2 {
			pinmux = <STM32_PINMUX('H', 8, AF3)>; /* USART2_RX */
			bias-disable;
		};
	};

	usart2_sleep_pins_mx: usart2_sleep_mx-0 {
		pins {
			pinmux = <STM32_PINMUX('F', 11, ANALOG)>, /* USART2_TX */
					 <STM32_PINMUX('H', 8, ANALOG)>; /* USART2_RX */
		};
	};

	usart3_pins_mx: usart3_mx-0 {
		pins1 {
			pinmux = <STM32_PINMUX('D', 8, AF7)>, /* USART3_TX */
					 <STM32_PINMUX('D', 12, AF7)>; /* USART3_DE */
			bias-disable;
			drive-push-pull;
			slew-rate = <0>;
		};
		pins2 {
			pinmux = <STM32_PINMUX('G', 4, AF8)>; /* USART3_RX */
			bias-disable;
		};
	};

	usart3_sleep_pins_mx: usart3_sleep_mx-0 {
		pins {
			pinmux = <STM32_PINMUX('D', 8, ANALOG)>, /* USART3_TX */
					 <STM32_PINMUX('D', 12, ANALOG)>, /* USART3_DE */
					 <STM32_PINMUX('G', 4, ANALOG)>; /* USART3_RX */
		};
	};

	usart6_pins_mx: usart6_mx-0 {
		pins1 {
			pinmux = <STM32_PINMUX('C', 6, AF7)>; /* USART6_TX */
			bias-pull-up;
		};
		pins2 {
			pinmux = <STM32_PINMUX('C', 7, AF7)>; /* USART6_RX */
			bias-disable;
			drive-push-pull;
			slew-rate = <0>;
		};
	};

	usart6_sleep_pins_mx: usart6_sleep_mx-0 {
		pins {
			pinmux = <STM32_PINMUX('C', 6, ANALOG)>, /* USART6_TX */
					 <STM32_PINMUX('C', 7, ANALOG)>; /* USART6_RX */
		};
	};

	usb_otg_hs_pins_mx: usb_otg_hs_mx-0 {
		pins {
			pinmux = <STM32_PINMUX('I', 7, ANALOG)>; /* USB_OTG_HS_VBUS */
		};
	};

	usb_otg_hs_sleep_pins_mx: usb_otg_hs_sleep_mx-0 {
		pins {
			pinmux = <STM32_PINMUX('I', 7, ANALOG)>; /* USB_OTG_HS_VBUS */
		};
	};

};
